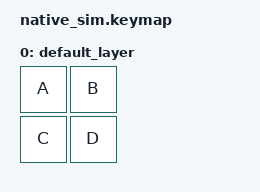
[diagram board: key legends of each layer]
#include <dt-bindings/zmk/keys.h>
#include <behaviors.dtsi>
#include <dt-bindings/zmk/kscan_mock.h>

#define kA 0
#define kB 1
#define kC 2
#define kD 3

/ {
    combos {
        compatible = "zmk,combos";

        combo_short_timeout {
            timeout-ms = <10>;
            key-positions = <kA kC>;
            bindings = <&kp X>;
        };

        combo_two_keys {
            timeout-ms = <200>;
            key-positions = <kA kB>;
            bindings = <&kp Y>;
        };

        combo_three_keys {
            timeout-ms = <200>;
            key-positions = <kA kB kD>;
            bindings = <&kp Z>;
        };
    };

    keymap {
        compatible = "zmk,keymap";

        default_layer {
            bindings = <
                &kp A &kp B
                &kp C &kp D
            >;
        };
    };
};

&kscan {
    events = <
        /* T+5: press A. candidates: combo_short_timeout, combo_two_keys,
         * combo_three_keys; combo_short_timeout is the shortest-timeout
         * candidate, so the timeout task gets scheduled for T+5+10=T+15.
         */
        ZMK_MOCK_PRESS(0,0,5)

        /* T+5+5=T+10: press B. combo_short_timeout is filtered out.
         * candidates left: combo_two_keys, combo_three_keys.
         * both time out a T+5+200=T+205; still pending T+15 timer must
         * be rescheduled to T+205.
         *
         * Wait longer (250ms, past T+205) without key events,so only the
         * timeout task can resolve the combo.
         */
        ZMK_MOCK_PRESS(0,1,250)
    >;
};
